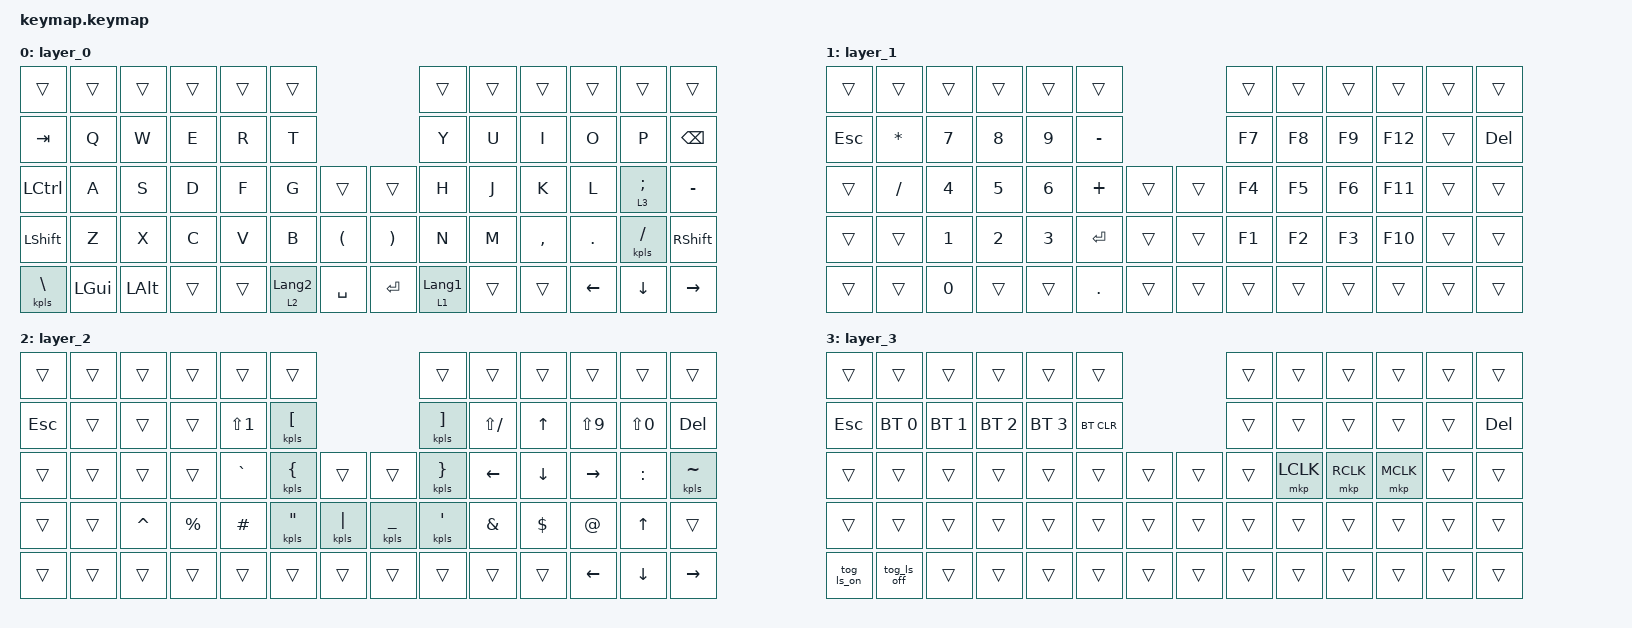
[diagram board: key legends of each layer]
#include <behaviors.dtsi>
#include <dt-bindings/zmk/bt.h>
#include <dt-bindings/zmk/keys.h>
#include <dt-bindings/zmk/pointing.h>
#include <layout_shift_kp_override.dtsi>

&tog_ls { layout-maps = <&layout_shift_map_us_to_jis>; };
&tog_ls_on { layout-maps = <&layout_shift_map_us_to_jis>; };
&tog_ls_off { layout-maps = <&layout_shift_map_us_to_jis>; };

/ {
    combos {
        compatible = "zmk,combos";

        bt_clear {
            bindings = <&bt BT_CLR>;
            key-positions = <28 29>;
            layers = <2>;
        };

        combo_layer_3 {
            bindings = <&mo 3>;
            key-positions = <17 41>;
            timeout-ms = <50>;
            slow-release;
        };

    };

    keymap {
        compatible = "zmk,keymap";

        layer_0 {
            bindings = <
&trans         &trans        &trans        &trans  &trans  &trans                                          &trans            &trans  &trans     &trans          &trans          &trans
&kp TAB        &kp Q         &kp W         &kp E   &kp R   &kp T                                           &kp Y             &kp U   &kp I      &kp O           &kp P           &kp BSPC
&kp LCTRL      &kp A         &kp S         &kp D   &kp F   &kp G              &trans          &trans       &kp H             &kp J   &kp K      &kp L           &lt 3 SEMI      &kp MINUS
&kp LSHFT      &kp Z         &kp X         &kp C   &kp V   &kp B              &kp LPAR        &kp RPAR     &kp N             &kp M   &kp COMMA  &kp DOT         &kpls SLASH     &kp RSHFT
&kpls BACKSLASH   &kp LEFT_GUI  &kp LEFT_ALT  &trans  &trans  &lt 2 LANGUAGE_2  &kp SPACE     &kp ENTER    &lt 1 LANGUAGE_1  &trans  &trans     &kp LEFT_ARROW  &kp DOWN_ARROW  &kp RIGHT_ARROW
            >;
        };

        layer_1 {
            bindings = <
&trans      &trans        &trans        &trans        &trans        &trans                     &trans  &trans  &trans  &trans   &trans  &trans
&kp ESCAPE  &kp ASTERISK  &kp N7        &kp N8        &kp N9        &kp MINUS                  &kp F7  &kp F8  &kp F9  &kp F12  &trans  &kp DELETE
&trans      &kp SLASH     &kp NUMBER_4  &kp N5        &kp NUMBER_6  &kp PLUS   &trans  &trans  &kp F4  &kp F5  &kp F6  &kp F11  &trans  &trans
&trans      &trans        &kp NUMBER_1  &kp NUMBER_2  &kp NUMBER_3  &kp ENTER  &trans  &trans  &kp F1  &kp F2  &kp F3  &kp F10  &trans  &trans
&trans      &trans        &kp N0        &trans        &trans        &kp DOT    &trans  &trans  &trans  &trans  &trans  &trans   &trans  &trans
            >;
        };

        layer_2 {
            bindings = <
&trans      &trans  &trans     &trans       &trans            &trans                                                    &trans              &trans          &trans          &trans           &trans         &trans
&kp ESCAPE  &trans  &trans     &trans       &kp LS(NUMBER_1)  &kpls LEFT_BRACKET                                        &kpls RIGHT_BRACKET &kp LS(SLASH)   &kp UP_ARROW    &kp LS(N9)       &kp LS(N0)     &kp DELETE
&trans      &trans  &trans     &trans       &kp GRAVE         &kpls LEFT_BRACE       &trans           &trans            &kpls RIGHT_BRACE   &kp LEFT_ARROW  &kp DOWN_ARROW  &kp RIGHT_ARROW  &kp COLON      &kpls TILDE
&trans      &trans  &kp CARET  &kp PERCENT  &kp HASH          &kpls DOUBLE_QUOTES    &kpls PIPE       &kpls UNDERSCORE  &kpls SINGLE_QUOTE  &kp AMPERSAND   &kp DOLLAR      &kp AT_SIGN      &kp UP_ARROW   &trans
&trans      &trans  &trans     &trans       &trans            &trans                 &trans           &trans            &trans              &trans          &trans          &kp LEFT_ARROW   &kp DOWN_ARROW &kp RIGHT_ARROW
            >;
        };

        layer_3 {
            bindings = <
&trans      &trans        &trans        &trans        &trans        &trans                        &trans  &trans     &trans     &trans     &trans  &trans
&kp ESCAPE  &bt BT_SEL 0  &bt BT_SEL 1  &bt BT_SEL 2  &bt BT_SEL 3  &bt BT_CLR                    &trans  &trans     &trans     &trans     &trans  &kp DELETE
&trans      &trans        &trans        &trans        &trans        &trans        &trans  &trans  &trans  &mkp LCLK  &mkp RCLK  &mkp MCLK  &trans  &trans
&trans      &trans        &trans        &trans        &trans        &trans        &trans  &trans  &trans  &trans     &trans     &trans     &trans  &trans
&tog_ls_on  &tog_ls_off   &trans        &trans        &trans        &trans        &trans  &trans  &trans  &trans     &trans     &trans     &trans  &trans
            >;
        };
    };
};
